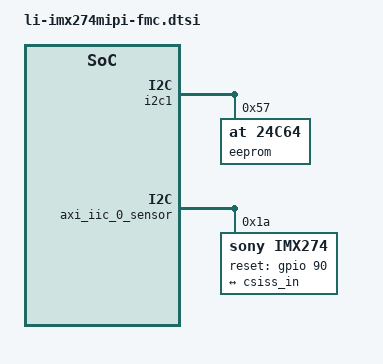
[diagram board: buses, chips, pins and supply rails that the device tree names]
&i2c1 {
#ifdef PLATFORM_ZCU104
	i2cswitch@74 {
		i2c@5 {
#else
	i2cswitch@75 {
		i2c@0 {
#endif
			eeprom@57 {
				compatible = "at,24c64";
				reg = <0x57>;
			};
		};
	};
};

&axi_iic_0_sensor {
	imx274: sensor@1a{
		compatible = "sony,imx274";
		reg = <0x1a>;
		#address-cells = <1>;
		#size-cells = <0>;
		reset-gpios = <&gpio 90 0>;

		port@0 {
			reg = <0>;

			sensor_out: endpoint {
				remote-endpoint = <&csiss_in>;
			};
		};
	};
};
